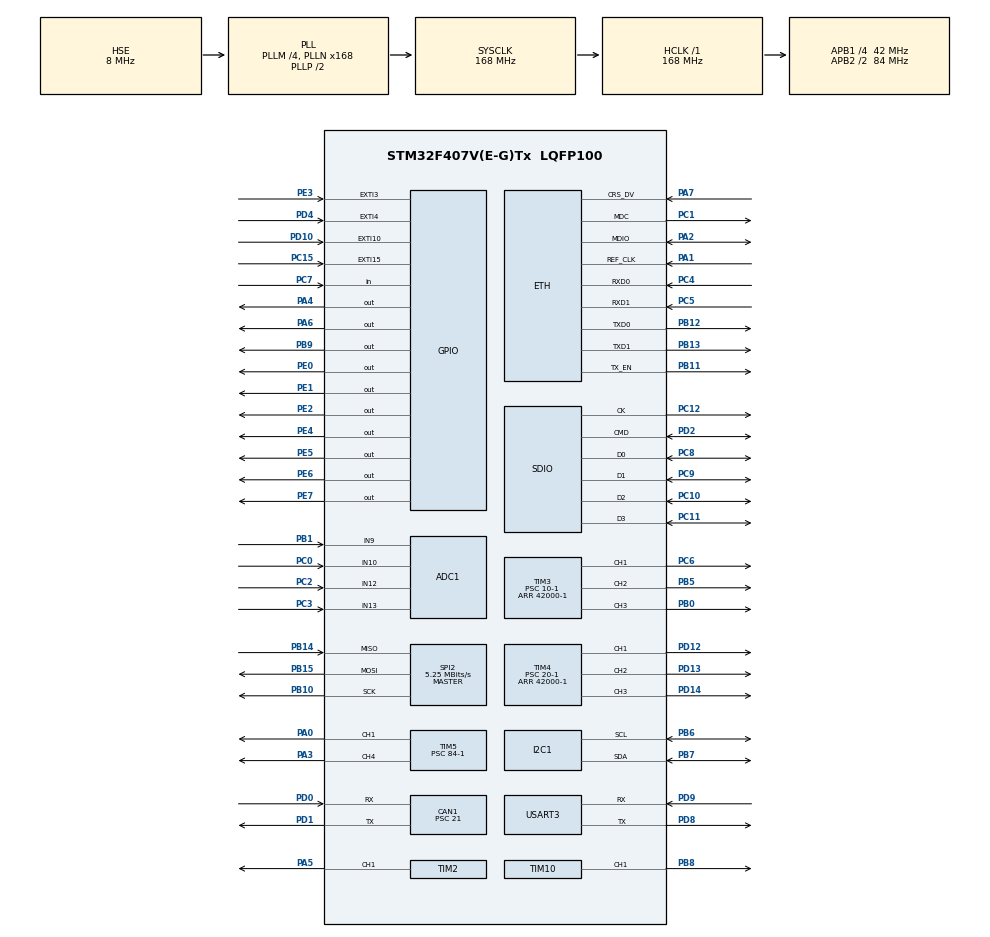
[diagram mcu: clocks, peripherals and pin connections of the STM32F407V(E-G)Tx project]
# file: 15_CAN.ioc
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ADC1.Channel-0\#ChannelRegularConversion=ADC_CHANNEL_10
ADC1.Channel-1\#ChannelRegularConversion=ADC_CHANNEL_12
ADC1.Channel-2\#ChannelRegularConversion=ADC_CHANNEL_13
ADC1.Channel-3\#ChannelRegularConversion=ADC_CHANNEL_9
ADC1.ContinuousConvMode=ENABLE
ADC1.DMAContinuousRequests=ENABLE
ADC1.NbrOfConversion=4
ADC1.NbrOfConversionFlag=1
ADC1.Rank-0\#ChannelRegularConversion=1
ADC1.Rank-1\#ChannelRegularConversion=2
ADC1.Rank-2\#ChannelRegularConversion=3
ADC1.Rank-3\#ChannelRegularConversion=4
ADC1.SamplingTime-0\#ChannelRegularConversion=ADC_SAMPLETIME_84CYCLES
ADC1.SamplingTime-1\#ChannelRegularConversion=ADC_SAMPLETIME_84CYCLES
ADC1.SamplingTime-2\#ChannelRegularConversion=ADC_SAMPLETIME_84CYCLES
ADC1.SamplingTime-3\#ChannelRegularConversion=ADC_SAMPLETIME_84CYCLES
ADC1.ScanConvMode=ENABLE
ADC1.master=1
CAN1.BS1=CAN_BS1_14TQ
CAN1.BS2=CAN_BS2_5TQ
CAN1.CalculateBaudRate=100000
CAN1.CalculateTimeBit=10000
CAN1.CalculateTimeQuantum=500.0
CAN1.Prescaler=21
Dma.ADC1.0.Direction=DMA_PERIPH_TO_MEMORY
Dma.ADC1.0.FIFOMode=DMA_FIFOMODE_DISABLE
Dma.ADC1.0.Instance=DMA2_Stream0
Dma.ADC1.0.MemDataAlignment=DMA_MDATAALIGN_HALFWORD
Dma.ADC1.0.MemInc=DMA_MINC_ENABLE
Dma.ADC1.0.Mode=DMA_CIRCULAR
Dma.ADC1.0.PeriphDataAlignment=DMA_PDATAALIGN_HALFWORD
Dma.ADC1.0.PeriphInc=DMA_PINC_DISABLE
Dma.ADC1.0.Priority=DMA_PRIORITY_LOW
Dma.Request0=ADC1
Dma.Request1=SDIO_TX
Dma.Request2=SDIO_RX
Dma.SDIO_RX.2.Direction=DMA_PERIPH_TO_MEMORY
Dma.SDIO_RX.2.FIFOMode=DMA_FIFOMODE_ENABLE
Dma.SDIO_RX.2.FIFOThreshold=DMA_FIFO_THRESHOLD_FULL
Dma.SDIO_RX.2.Instance=DMA2_Stream6
Dma.SDIO_RX.2.MemBurst=DMA_MBURST_INC4
Dma.SDIO_RX.2.MemDataAlignment=DMA_MDATAALIGN_WORD
Dma.SDIO_RX.2.MemInc=DMA_MINC_ENABLE
Dma.SDIO_RX.2.Mode=DMA_PFCTRL
Dma.SDIO_RX.2.PeriphBurst=DMA_PBURST_INC4
Dma.SDIO_RX.2.PeriphDataAlignment=DMA_PDATAALIGN_WORD
Dma.SDIO_RX.2.PeriphInc=DMA_PINC_DISABLE
Dma.SDIO_RX.2.Priority=DMA_PRIORITY_LOW
Dma.SDIO_TX.1.Direction=DMA_MEMORY_TO_PERIPH
Dma.SDIO_TX.1.FIFOMode=DMA_FIFOMODE_ENABLE
Dma.SDIO_TX.1.FIFOThreshold=DMA_FIFO_THRESHOLD_FULL
Dma.SDIO_TX.1.Instance=DMA2_Stream3
Dma.SDIO_TX.1.MemBurst=DMA_MBURST_INC4
Dma.SDIO_TX.1.MemDataAlignment=DMA_MDATAALIGN_WORD
Dma.SDIO_TX.1.MemInc=DMA_MINC_ENABLE
Dma.SDIO_TX.1.Mode=DMA_PFCTRL
Dma.SDIO_TX.1.PeriphBurst=DMA_PBURST_INC4
Dma.SDIO_TX.1.PeriphDataAlignment=DMA_PDATAALIGN_WORD
Dma.SDIO_TX.1.PeriphInc=DMA_PINC_DISABLE
Dma.SDIO_TX.1.Priority=DMA_PRIORITY_LOW
ETH.MediaInterface=HAL_ETH_RMII_MODE
FATFS.USE_DMA_CODE_SD=1
FATFS._MAX_SS=512
FATFS._USE_LFN=1
I2C1.I2C_Mode=I2C_Fast
LWIP.BSP.number=1
LWIP.CHECKSUM_BY_HARDWARE=1
LWIP.GATEWAY_ADDRESS=192.168.035.001
LWIP.IP_ADDRESS=192.168.035.209
LWIP.LWIP_DHCP=0
LWIP.NETMASK_ADDRESS=255.255.255.000
LWIP.Version=v2.1.2_Cube
LWIP0.BSP.STBoard=false
LWIP0.BSP.api=BSP_COMPONENT_DRIVER
LWIP0.BSP.component=DP83848
LWIP0.BSP.instance=DP83848
LWIP0.BSP.name=Driver_PHY
LWIP0.BSP.semaphore=S_DP83848
LWIP0.BSP.solution=DP83848
Mcu.Family=STM32F4
Mcu.Name=STM32F407V(E-G)Tx
Mcu.Package=LQFP100
NVIC.CAN1_RX0_IRQn=true\:0\:0\:false\:false\:true\:true\:true\:true
NVIC.DMA2_Stream0_IRQn=true\:0\:0\:false\:false\:true\:false\:true\:true
NVIC.DMA2_Stream3_IRQn=true\:0\:0\:false\:false\:true\:false\:true\:true
NVIC.DMA2_Stream6_IRQn=true\:0\:0\:false\:false\:true\:false\:true\:true
NVIC.EXTI15_10_IRQn=true\:0\:0\:false\:true\:true\:5\:true\:true\:true
NVIC.EXTI3_IRQn=true\:0\:0\:false\:true\:true\:3\:true\:true\:true
NVIC.EXTI4_IRQn=true\:0\:0\:false\:true\:true\:4\:true\:true\:true
NVIC.PriorityGroup=NVIC_PRIORITYGROUP_4
NVIC.SDIO_IRQn=true\:0\:0\:false\:false\:true\:true\:true\:true
NVIC.TIM7_IRQn=true\:0\:0\:false\:true\:true\:2\:true\:true\:true
NVIC.USART3_IRQn=true\:0\:0\:false\:true\:true\:1\:true\:true\:true
PA0-WKUP.Signal=S_TIM5_CH1
PA1.Mode=RMII
PA1.Signal=ETH_REF_CLK
PA2.Mode=RMII
PA2.Signal=ETH_MDIO
PA3.Signal=S_TIM5_CH4
PA4.Signal=GPIO_Output
PA5.Signal=S_TIM2_CH1_ETR
PA6.Signal=GPIO_Output
PA7.Mode=RMII
PA7.Signal=ETH_CRS_DV
PB0.Signal=S_TIM3_CH3
PB1.Signal=ADCx_IN9
PB10.Mode=Full_Duplex_Master
PB10.Signal=SPI2_SCK
PB11.Mode=RMII
PB11.Signal=ETH_TX_EN
PB12.Mode=RMII
PB12.Signal=ETH_TXD0
PB13.Mode=RMII
PB13.Signal=ETH_TXD1
PB14.Mode=Full_Duplex_Master
PB14.Signal=SPI2_MISO
PB15.Mode=Full_Duplex_Master
PB15.Signal=SPI2_MOSI
PB5.Signal=S_TIM3_CH2
PB6.Mode=I2C
PB6.Signal=I2C1_SCL
PB7.Mode=I2C
PB7.Signal=I2C1_SDA
PB8.Signal=S_TIM10_CH1
PB9.Signal=GPIO_Output
PC0.Signal=ADCx_IN10
PC1.Mode=RMII
PC1.Signal=ETH_MDC
PC10.Mode=SD_4_bits_Wide_bus
PC10.Signal=SDIO_D2
PC11.Mode=SD_4_bits_Wide_bus
PC11.Signal=SDIO_D3
PC12.Mode=SD_4_bits_Wide_bus
PC12.Signal=SDIO_CK
PC15-OSC32_OUT.Signal=GPXTI15
PC2.Signal=ADCx_IN12
PC3.Signal=ADCx_IN13
PC4.Mode=RMII
PC4.Signal=ETH_RXD0
PC5.Mode=RMII
PC5.Signal=ETH_RXD1
PC6.Signal=S_TIM3_CH1
PC7.Signal=GPIO_Input
PC8.Mode=SD_4_bits_Wide_bus
PC8.Signal=SDIO_D0
PC9.Mode=SD_4_bits_Wide_bus
PC9.Signal=SDIO_D1
PD0.Mode=CAN_Activate
PD0.Signal=CAN1_RX
PD1.Mode=CAN_Activate
PD1.Signal=CAN1_TX
PD10.Signal=GPXTI10
PD12.Signal=S_TIM4_CH1
PD13.Signal=S_TIM4_CH2
PD14.Signal=S_TIM4_CH3
PD2.Mode=SD_4_bits_Wide_bus
PD2.Signal=SDIO_CMD
PD4.Signal=GPXTI4
PD8.Mode=Asynchronous
PD8.Signal=USART3_TX
PD9.Mode=Asynchronous
PD9.Signal=USART3_RX
PE0.Signal=GPIO_Output
PE1.Signal=GPIO_Output
PE2.Signal=GPIO_Output
PE3.Signal=GPXTI3
PE4.Signal=GPIO_Output
PE5.Signal=GPIO_Output
PE6.Signal=GPIO_Output
PE7.Signal=GPIO_Output
PH0-OSC_IN.Mode=HSE-External-Oscillator
PH0-OSC_IN.Signal=RCC_OSC_IN
PH1-OSC_OUT.Mode=HSE-External-Oscillator
PH1-OSC_OUT.Signal=RCC_OSC_OUT
ProjectManager.HeapSize=0x200
ProjectManager.StackSize=0x400
ProjectManager.TargetToolchain=STM32CubeIDE
RCC.48MHZClocksFreq_Value=48000000
RCC.AHBFreq_Value=168000000
RCC.APB1CLKDivider=RCC_HCLK_DIV4
RCC.APB1Freq_Value=42000000
RCC.APB1TimFreq_Value=84000000
RCC.APB2CLKDivider=RCC_HCLK_DIV2
RCC.APB2Freq_Value=84000000
RCC.APB2TimFreq_Value=168000000
RCC.CortexFreq_Value=168000000
RCC.HCLKFreq_Value=168000000
RCC.HSE_VALUE=8000000
RCC.HSI_VALUE=16000000
RCC.LSE_VALUE=32768
RCC.PLLM=4
RCC.PLLN=168
RCC.PLLQ=7
RCC.PLLSourceVirtual=RCC_PLLSOURCE_HSE
RCC.SYSCLKFreq_VALUE=168000000
RCC.SYSCLKSource=RCC_SYSCLKSOURCE_PLLCLK
RCC.VCOOutputFreq_Value=336000000
SH.ADCx_IN10.0=ADC1_IN10,IN10
SH.ADCx_IN12.0=ADC1_IN12,IN12
SH.ADCx_IN13.0=ADC1_IN13,IN13
SH.ADCx_IN9.0=ADC1_IN9,IN9
SH.S_TIM10_CH1.0=TIM10_CH1,PWM Generation1 CH1
SH.S_TIM2_CH1_ETR.0=TIM2_CH1,PWM Generation1 CH1
SH.S_TIM3_CH1.0=TIM3_CH1,PWM Generation1 CH1
SH.S_TIM3_CH2.0=TIM3_CH2,PWM Generation2 CH2
SH.S_TIM3_CH3.0=TIM3_CH3,PWM Generation3 CH3
SH.S_TIM4_CH1.0=TIM4_CH1,PWM Generation1 CH1
SH.S_TIM4_CH2.0=TIM4_CH2,PWM Generation2 CH2
SH.S_TIM4_CH3.0=TIM4_CH3,PWM Generation3 CH3
SH.S_TIM5_CH1.0=TIM5_CH1,PWM Generation1 CH1
SH.S_TIM5_CH4.0=TIM5_CH4,PWM Generation4 CH4
SPI2.BaudRatePrescaler=SPI_BAUDRATEPRESCALER_8
SPI2.CLKPhase=SPI_PHASE_2EDGE
SPI2.CLKPolarity=SPI_POLARITY_HIGH
SPI2.CalculateBaudRate=5.25 MBits/s
SPI2.Direction=SPI_DIRECTION_2LINES
SPI2.Mode=SPI_MODE_MASTER
SPI2.VirtualType=VM_MASTER
TIM10.Channel=TIM_CHANNEL_1
TIM10.Period=10000-1
TIM10.Prescaler=336-1
TIM10.Pulse=100
TIM2.Channel-PWM\ Generation1\ CH1=TIM_CHANNEL_1
TIM2.Period=168-1
TIM2.Prescaler=1000-1
TIM2.Pulse-PWM\ Generation1\ CH1=84
TIM3.Channel-PWM\ Generation1\ CH1=TIM_CHANNEL_1
TIM3.Channel-PWM\ Generation2\ CH2=TIM_CHANNEL_2
TIM3.Channel-PWM\ Generation3\ CH3=TIM_CHANNEL_3
TIM3.Period=42000-1
TIM3.Prescaler=10-1
TIM3.Pulse-PWM\ Generation1\ CH1=21000-1
TIM3.Pulse-PWM\ Generation2\ CH2=10500-1
TIM3.Pulse-PWM\ Generation3\ CH3=5250-1
TIM4.Channel-PWM\ Generation1\ CH1=TIM_CHANNEL_1
TIM4.Channel-PWM\ Generation2\ CH2=TIM_CHANNEL_2
TIM4.Channel-PWM\ Generation3\ CH3=TIM_CHANNEL_3
TIM4.Period=42000-1
TIM4.Prescaler=20-1
TIM4.Pulse-PWM\ Generation1\ CH1=21000-1
TIM4.Pulse-PWM\ Generation2\ CH2=10500-1
TIM4.Pulse-PWM\ Generation3\ CH3=5250-1
TIM5.Channel-PWM\ Generation1\ CH1=TIM_CHANNEL_1
TIM5.Channel-PWM\ Generation4\ CH4=TIM_CHANNEL_4
TIM5.Period=10000-1
TIM5.Prescaler=84-1
TIM5.Pulse-PWM\ Generation4\ CH4=5000
TIM7.Period=8400-1
TIM7.Prescaler=10-1
USART3.VirtualMode=VM_ASYNC
VP_FATFS_VS_SDIO.Mode=SDIO
VP_LWIP_VS_Enabled.Mode=Enabled
VP_TIM10_VS_ClockSourceINT.Mode=Enable_Timer
VP_TIM2_VS_ClockSourceINT.Mode=Internal
VP_TIM3_VS_ClockSourceINT.Mode=Internal
VP_TIM4_VS_ClockSourceINT.Mode=Internal
VP_TIM5_VS_ClockSourceINT.Mode=Internal
VP_TIM7_VS_ClockSourceINT.Mode=Enable_Timer
board=custom

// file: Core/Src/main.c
/* USER CODE BEGIN Header */
/**
 ******************************************************************************
 * @file           : main.c
 * @brief          : Main program body
 ******************************************************************************
 * @attention
 *
 * Copyright (c) 2024 STMicroelectronics.
 * All rights reserved.
 *
 * This software is licensed under terms that can be found in the LICENSE file
 * in the root directory of this software component.
 * If no LICENSE file comes with this software, it is provided AS-IS.
 *
 ******************************************************************************
 */
/* USER CODE END Header */
#include "main.h"
#include "fatfs.h"
#include "lwip.h"

/* USER CODE BEGIN Includes */
#include <stdio.h>
#include <string.h>
#include "CLCD.h"
#include "7SEG.h"
#include <math.h>
#include "VS1003.h"
#include "MP3Sample.h"
#include "udp_echoserver.h"
/* USER CODE END Includes */

ADC_HandleTypeDef hadc1;
DMA_HandleTypeDef hdma_adc1;

CAN_HandleTypeDef hcan1;

I2C_HandleTypeDef hi2c1;

SD_HandleTypeDef hsd;
DMA_HandleTypeDef hdma_sdio_tx;
DMA_HandleTypeDef hdma_sdio_rx;

SPI_HandleTypeDef hspi2;

TIM_HandleTypeDef htim2;
TIM_HandleTypeDef htim3;
TIM_HandleTypeDef htim4;
TIM_HandleTypeDef htim5;
TIM_HandleTypeDef htim7;
TIM_HandleTypeDef htim10;

UART_HandleTypeDef huart3;

/* USER CODE BEGIN PV */
CAN_FilterTypeDef canFilter1;
CAN_RxHeaderTypeDef canRxHeader;
CAN_TxHeaderTypeDef canTxHeader;
uint8_t can1Rx0Data[8];
uint32_t TxMailBox;
uint8_t can1Tx0Data[8];
volatile uint8_t can1_rx0_falg = 0;

uint8_t rx3_data;
uint8_t buf = 0;
uint8_t rx3_buf[100];

uint8_t sw1_flag = 0;
uint8_t sw2_flag = 0;
uint8_t sw3_flag = 0;
uint8_t sw4_flag = 0;

extern uint8_t udp_data;
extern uint8_t udp_flag;
/* USER CODE END PV */

void SystemClock_Config(void);
static void MX_GPIO_Init(void);
static void MX_DMA_Init(void);
static void MX_USART3_UART_Init(void);
static void MX_TIM7_Init(void);
static void MX_TIM3_Init(void);
static void MX_TIM4_Init(void);
static void MX_TIM10_Init(void);
static void MX_TIM2_Init(void);
static void MX_TIM5_Init(void);
static void MX_ADC1_Init(void);
static void MX_I2C1_Init(void);
static void MX_SPI2_Init(void);
static void MX_SDIO_SD_Init(void);
static void MX_CAN1_Init(void);
static void MX_NVIC_Init(void);
/* USER CODE BEGIN PFP */
int _write(int file, char *p, int len)
{
	HAL_UART_Transmit(&huart3, p, len, 10);
	return len;
}

void HAL_UART_RxCpltCallback(UART_HandleTypeDef *huart)
{
	if (huart->Instance == USART3)
	{
		if (buf < 100 - 1)
		{
			buf++;
		}
		else
		{
			buf = 0;
		}

		if (rx3_buf[buf - 1] == '\n')
		{
			rx3_buf[buf - 1] = '\0';
			buf = 0;
		}

		HAL_UART_Receive_IT(&huart3, &rx3_buf[buf], 1);
	}
}

void HAL_TIM_PeriodElapsedCallback(TIM_HandleTypeDef *htim)
{
	static unsigned char cnt = 0;

//	if (htim->Instance == TIM7) {
//		/*Sin wave*/
//		HAL_DAC_SetValue(&hdac, DAC_CHANNEL_1, DAC_ALIGN_12B_R, (sinf(2 * 3.1415926535f * 100 * cnt / 1000.f) + 1) * 2047); // 100Hz code (this code MAX Frequency 499Hz)
//		cnt++;
//		if(cnt > 999) cnt = 0;
//	}
}

void HAL_GPIO_EXTI_Callback(uint16_t GPIO_Pin)
{
	if (GPIO_Pin == GPIO_PIN_3)
	{
		sw1_flag = 1;
	}
	if (GPIO_Pin == GPIO_PIN_15)
	{
		sw2_flag = 1;
	}
	if (GPIO_Pin == GPIO_PIN_4)
	{
		sw3_flag = 1;
	}
	if (GPIO_Pin == GPIO_PIN_10)
	{
		sw4_flag = 1;
	}
}

void HAL_CAN_RxFifo0MsgPendingCallback(CAN_HandleTypeDef *hcan)
{
	if (hcan->Instance == CAN1)
	{
		HAL_CAN_GetRxMessage(&hcan1, CAN_RX_FIFO0, &canRxHeader, can1Rx0Data);
		can1_rx0_falg = 1;
	}
}
/* USER CODE END PFP */

int main(void)
{
	/* USER CODE BEGIN 1 */
	volatile uint16_t adcval[4];
	/* USER CODE END 1 */

	/* MCU Configuration--------------------------------------------------------*/

	/* Reset of all peripherals, Initializes the Flash interface and the Systick. */
	HAL_Init();

	/* Configure the system clock */
	SystemClock_Config();

	/* Initialize all configured peripherals */
	MX_GPIO_Init();
	MX_DMA_Init();
	MX_USART3_UART_Init();
	MX_TIM7_Init();
	MX_TIM3_Init();
	MX_TIM4_Init();
	MX_TIM10_Init();
	MX_TIM2_Init();
	MX_TIM5_Init();
	MX_ADC1_Init();
	MX_I2C1_Init();
	MX_SPI2_Init();
	MX_SDIO_SD_Init();
	MX_FATFS_Init();
	MX_LWIP_Init();
	MX_CAN1_Init();

	/* Initialize interrupts */
	MX_NVIC_Init();
	/* USER CODE BEGIN 2 */
	HAL_GPIO_WritePin(GPIOD, GPIO_PIN_12, GPIO_PIN_SET);
	HAL_GPIO_WritePin(GPIOD, GPIO_PIN_13, GPIO_PIN_SET);
	HAL_GPIO_WritePin(GPIOD, GPIO_PIN_14, GPIO_PIN_SET);
	HAL_GPIO_WritePin(GPIOC, GPIO_PIN_6, GPIO_PIN_SET);
	HAL_GPIO_WritePin(GPIOB, GPIO_PIN_0, GPIO_PIN_SET);
	HAL_GPIO_WritePin(GPIOB, GPIO_PIN_5, GPIO_PIN_SET);

//	HAL_UART_Receive_IT(&huart3, &rx3_buf[buf], 1);
	HAL_TIM_Base_Start_IT(&htim7);

//	HAL_TIM_PWM_Start(&htim3, TIM_CHANNEL_1);
//	HAL_TIM_PWM_Start(&htim3, TIM_CHANNEL_2);
//	HAL_TIM_PWM_Start(&htim3, TIM_CHANNEL_3);
//	HAL_TIM_PWM_Start(&htim4, TIM_CHANNEL_1);
//	HAL_TIM_PWM_Start(&htim4, TIM_CHANNEL_2);
//	HAL_TIM_PWM_Start(&htim4, TIM_CHANNEL_3);

	/*Servo motor*/
//	HAL_TIM_PWM_Start(&htim10, TIM_CHANNEL_1);
//	TIM10->CCR1 = 1500;
	/*Buzzer*/
//	HAL_TIM_PWM_Start(&htim2, TIM_CHANNEL_1);
//	TIM2->ARR = 500 - 1;
//	TIM2->CCR1 = 250;
	/*DC motor 100Hz Positive*/
//	HAL_TIM_PWM_Start(&htim5, TIM_CHANNEL_4); // motor driver input A, 50% pwm
//	HAL_TIM_PWM_Start(&htim5, TIM_CHANNEL_1); // motor driver input B, 0% pwm
	/*DC motor 100Hz Negative*/
//	TIM5->CCR4 = 0;
//	TIM5->CCR1 = 5000;
//
//	HAL_ADC_Start_DMA(&hadc1, &adcval[0], 4);
//	HAL_DAC_Start(&hdac, DAC_CHANNEL_1);
	VS1003_Init();
	VS1003_SoftReset();

	/* tcp echo server Init */
	udp_echoserver_init();

	CLCD_GPIO_Init();
	CLCD_Init();

	CLCD_Puts(0, 0, "Welcome to");
	CLCD_Puts(0, 1, "Kkang Home");

	CLCD_Clear();

//	_7SEG_GPIO_Init();
	/* USER CODE END 2 */

	/* Infinite loop */
	/* USER CODE BEGIN WHILE */
//	uint8_t a = 0;
	uint8_t str[20];
//	uint16_t ccr = 0;
//	uint16_t arr = 1000;
//	uint16_t psc = 1000;
//	uint8_t ud_flag = 0;
//	uint16_t dacval = 0;
//	uint8_t eeprom[10] = { 0x00, 0x11, 0x22, 0x33, 0x44, 0x55, 0x66, 0x77, 0x88, 0x99 };
//	int i = 0;
//
//	BYTE buf[32] = "Hello world";
//	uint32_t bw, br;
//	uint8_t pp_flag = 0;

//	/*FS Initialized ===> allocate '0:/'Drive*/
//	if ((retSD = f_mount(&SDFatFS, &SDPath[0], 1)) == FR_OK)
//	{
//		sprintf(str, "f_mount OK %d", retSD);
//		CLCD_Puts(0, 0, str);
//	}
//	else
//	{
//		sprintf(str, "f_mount failed %d", retSD);
//		CLCD_Puts(0, 0, str);
//	}
//
//	/*File List in SD Card*/
//	DIR dir;
//	FILINFO filinfo;
//	uint16_t filecnt = 0;
//
//	if ((retSD = f_opendir(&dir, "0:/")) == FR_OK)
//	{
//		while (1)
//		{
//			retSD = f_readdir(&dir, &filinfo);
//			if (dir.sect == 0)
//				break;
//
//			printf("%s\t0x%x\n", filinfo.fname, filinfo.fattrib);
//			filecnt++;
//		}
//		printf("\nTotal %d file(s)..\n\n", filecnt);
//	}
//	else
//	{
//		printf("The file/directory object is invalid! %d\n", retSD);
//	}
//
//	/*Open File*/
//	unsigned char filename[20] = "0:/1.mp3";
//	uint16_t index = 0;
//
//	if ((retSD = f_open(&SDFile, filename, FA_OPEN_EXISTING | FA_READ)) == FR_OK)
//	{
//		CLCD_Clear();
//		sprintf(str, "%s opened", filename);
//		CLCD_Puts(0, 0, str);
//	}
//	else
//	{
//		sprintf(str, "open error %d\n", retSD);
//		CLCD_Puts(0, 0, str);
//	}

	/******************************************CAN*********************************************/
	canFilter1.FilterMaskIdHigh = canFilter1.FilterMaskIdLow = 0x7F3 << 5; // why shift 5? => 16bit MSB
	canFilter1.FilterIdHigh = canFilter1.FilterIdLow = 0x106 << 5; // why shift 5? => 16bit MSB
	canFilter1.FilterMode = CAN_FILTERMODE_IDMASK;
	canFilter1.FilterScale = CAN_FILTERSCALE_16BIT;
	canFilter1.FilterFIFOAssignment = CAN_FILTER_FIFO0;
	canFilter1.FilterBank = 0;
	canFilter1.FilterActivation = ENABLE;

	HAL_CAN_ConfigFilter(&hcan1, &canFilter1);
	HAL_CAN_ActivateNotification(&hcan1, CAN_IT_RX_FIFO0_MSG_PENDING);

	HAL_CAN_Start(&hcan1);

	while (1)
	{
		if (can1_rx0_falg)
		{
			can1_rx0_falg = 0;

			CLCD_Clear();
			sprintf(str, "Rx ID :   0x%3X", canRxHeader.StdId);
			CLCD_Puts(0, 0, str);
			sprintf(str, "Rx Data : 0x%2X", can1Rx0Data[0]);
			CLCD_Puts(0, 1, str);
		}

		if (sw1_flag)
		{
			sw1_flag = 0;

			canTxHeader.StdId = 0x102;
			canTxHeader.RTR = CAN_RTR_DATA;
			canTxHeader.IDE = CAN_ID_STD;
			canTxHeader.DLC = 8;

			for (int i = 0; i < 8; i++)
			{
				can1Tx0Data[i]++;
			}

			TxMailBox = HAL_CAN_GetTxMailboxesFreeLevel(&hcan1);
			HAL_CAN_AddTxMessage(&hcan1, &canTxHeader, can1Tx0Data, &TxMailBox);
		}

		if (sw2_flag)
		{
			sw2_flag = 0;

			canTxHeader.StdId = 0x106;
			canTxHeader.RTR = CAN_RTR_DATA;
			canTxHeader.IDE = CAN_ID_STD;
			canTxHeader.DLC = 8;

			for (int i = 0; i < 8; i++)
			{
				can1Tx0Data[i]++;
			}

			TxMailBox = HAL_CAN_GetTxMailboxesFreeLevel(&hcan1);
			HAL_CAN_AddTxMessage(&hcan1, &canTxHeader, can1Tx0Data, &TxMailBox);
		}

		if (sw3_flag)
		{
			sw3_flag = 0;

			canTxHeader.StdId = 0x10A;
			canTxHeader.RTR = CAN_RTR_DATA;
			canTxHeader.IDE = CAN_ID_STD;
			canTxHeader.DLC = 8;

			for (int i = 0; i < 8; i++)
			{
				can1Tx0Data[i]++;
			}

			TxMailBox = HAL_CAN_GetTxMailboxesFreeLevel(&hcan1);
			HAL_CAN_AddTxMessage(&hcan1, &canTxHeader, can1Tx0Data, &TxMailBox);
		}

		if (sw4_flag)
		{
			sw4_flag = 0;

			canTxHeader.StdId = 0x10E;
			canTxHeader.RTR = CAN_RTR_DATA;
			canTxHeader.IDE = CAN_ID_STD;
			canTxHeader.DLC = 8;

			for (int i = 0; i < 8; i++)
			{
				can1Tx0Data[i]++;
			}

			TxMailBox = HAL_CAN_GetTxMailboxesFreeLevel(&hcan1);
			HAL_CAN_AddTxMessage(&hcan1, &canTxHeader, can1Tx0Data, &TxMailBox);
		}

		/* USER CODE END WHILE */

	}
}

void SystemClock_Config(void)
{
	RCC_OscInitTypeDef RCC_OscInitStruct = { 0 };
	RCC_ClkInitTypeDef RCC_ClkInitStruct = { 0 };

	/** Configure the main internal regulator output voltage
	 */
	__HAL_RCC_PWR_CLK_ENABLE();
	__HAL_PWR_VOLTAGESCALING_CONFIG(PWR_REGULATOR_VOLTAGE_SCALE1);

	/** Initializes the RCC Oscillators according to the specified parameters
	 * in the RCC_OscInitTypeDef structure.
	 */
	RCC_OscInitStruct.OscillatorType = RCC_OSCILLATORTYPE_HSE;
	RCC_OscInitStruct.HSEState = RCC_HSE_ON;
	RCC_OscInitStruct.PLL.PLLState = RCC_PLL_ON;
	RCC_OscInitStruct.PLL.PLLSource = RCC_PLLSOURCE_HSE;
	RCC_OscInitStruct.PLL.PLLM = 4;
	RCC_OscInitStruct.PLL.PLLN = 168;
	RCC_OscInitStruct.PLL.PLLP = RCC_PLLP_DIV2;
	RCC_OscInitStruct.PLL.PLLQ = 7;
	if (HAL_RCC_OscConfig(&RCC_OscInitStruct) != HAL_OK)
	{
		Error_Handler();
	}

	/** Initializes the CPU, AHB and APB buses clocks
	 */
	RCC_ClkInitStruct.ClockType = RCC_CLOCKTYPE_HCLK | RCC_CLOCKTYPE_SYSCLK | RCC_CLOCKTYPE_PCLK1 | RCC_CLOCKTYPE_PCLK2;
	RCC_ClkInitStruct.SYSCLKSource = RCC_SYSCLKSOURCE_PLLCLK;
	RCC_ClkInitStruct.AHBCLKDivider = RCC_SYSCLK_DIV1;
	RCC_ClkInitStruct.APB1CLKDivider = RCC_HCLK_DIV4;
	RCC_ClkInitStruct.APB2CLKDivider = RCC_HCLK_DIV2;

	if (HAL_RCC_ClockConfig(&RCC_ClkInitStruct, FLASH_LATENCY_5) != HAL_OK)
	{
		Error_Handler();
	}
}

/**
 * @brief NVIC Configuration.
 * @retval None
 */
static void MX_NVIC_Init(void)
{
	/* USART3_IRQn interrupt configuration */
	HAL_NVIC_SetPriority(USART3_IRQn, 0, 0);
	HAL_NVIC_EnableIRQ(USART3_IRQn);
	/* TIM7_IRQn interrupt configuration */
	HAL_NVIC_SetPriority(TIM7_IRQn, 0, 0);
	HAL_NVIC_EnableIRQ(TIM7_IRQn);
	/* EXTI3_IRQn interrupt configuration */
	HAL_NVIC_SetPriority(EXTI3_IRQn, 0, 0);
	HAL_NVIC_EnableIRQ(EXTI3_IRQn);
	/* EXTI4_IRQn interrupt configuration */
	HAL_NVIC_SetPriority(EXTI4_IRQn, 0, 0);
	HAL_NVIC_EnableIRQ(EXTI4_IRQn);
	/* EXTI15_10_IRQn interrupt configuration */
	HAL_NVIC_SetPriority(EXTI15_10_IRQn, 0, 0);
	HAL_NVIC_EnableIRQ(EXTI15_10_IRQn);
}

static void MX_ADC1_Init(void)
{

	ADC_ChannelConfTypeDef sConfig = { 0 };

	/** Configure the global features of the ADC (Clock, Resolution, Data Alignment and number of conversion)
	 */
	hadc1.Instance = ADC1;
	hadc1.Init.ClockPrescaler = ADC_CLOCK_SYNC_PCLK_DIV4;
	hadc1.Init.Resolution = ADC_RESOLUTION_12B;
	hadc1.Init.ScanConvMode = ENABLE;
	hadc1.Init.ContinuousConvMode = ENABLE;
	hadc1.Init.DiscontinuousConvMode = DISABLE;
	hadc1.Init.ExternalTrigConvEdge = ADC_EXTERNALTRIGCONVEDGE_NONE;
	hadc1.Init.ExternalTrigConv = ADC_SOFTWARE_START;
	hadc1.Init.DataAlign = ADC_DATAALIGN_RIGHT;
	hadc1.Init.NbrOfConversion = 4;
	hadc1.Init.DMAContinuousRequests = ENABLE;
	hadc1.Init.EOCSelection = ADC_EOC_SINGLE_CONV;
	if (HAL_ADC_Init(&hadc1) != HAL_OK)
	{
		Error_Handler();
	}

	/** Configure for the selected ADC regular channel its corresponding rank in the sequencer and its sample time.
	 */
	sConfig.Channel = ADC_CHANNEL_10;
	sConfig.Rank = 1;
	sConfig.SamplingTime = ADC_SAMPLETIME_84CYCLES;
	if (HAL_ADC_ConfigChannel(&hadc1, &sConfig) != HAL_OK)
	{
		Error_Handler();
	}

	/** Configure for the selected ADC regular channel its corresponding rank in the sequencer and its sample time.
	 */
	sConfig.Channel = ADC_CHANNEL_12;
	sConfig.Rank = 2;
	if (HAL_ADC_ConfigChannel(&hadc1, &sConfig) != HAL_OK)
	{
		Error_Handler();
	}

	/** Configure for the selected ADC regular channel its corresponding rank in the sequencer and its sample time.
	 */
	sConfig.Channel = ADC_CHANNEL_13;
	sConfig.Rank = 3;
	if (HAL_ADC_ConfigChannel(&hadc1, &sConfig) != HAL_OK)
	{
		Error_Handler();
	}

	/** Configure for the selected ADC regular channel its corresponding rank in the sequencer and its sample time.
	 */
	sConfig.Channel = ADC_CHANNEL_9;
	sConfig.Rank = 4;
	if (HAL_ADC_ConfigChannel(&hadc1, &sConfig) != HAL_OK)
	{
		Error_Handler();
	}

}

static void MX_CAN1_Init(void)
{

	hcan1.Instance = CAN1;
	hcan1.Init.Prescaler = 21;
	hcan1.Init.Mode = CAN_MODE_NORMAL;
	hcan1.Init.SyncJumpWidth = CAN_SJW_1TQ;
	hcan1.Init.TimeSeg1 = CAN_BS1_14TQ;
	hcan1.Init.TimeSeg2 = CAN_BS2_5TQ;
	hcan1.Init.TimeTriggeredMode = DISABLE;
	hcan1.Init.AutoBusOff = DISABLE;
	hcan1.Init.AutoWakeUp = DISABLE;
	hcan1.Init.AutoRetransmission = DISABLE;
	hcan1.Init.ReceiveFifoLocked = DISABLE;
	hcan1.Init.TransmitFifoPriority = DISABLE;
	if (HAL_CAN_Init(&hcan1) != HAL_OK)
	{
		Error_Handler();
	}

}

static void MX_I2C1_Init(void)
{

	hi2c1.Instance = I2C1;
	hi2c1.Init.ClockSpeed = 400000;
	hi2c1.Init.DutyCycle = I2C_DUTYCYCLE_2;
	hi2c1.Init.OwnAddress1 = 0;
	hi2c1.Init.AddressingMode = I2C_ADDRESSINGMODE_7BIT;
	hi2c1.Init.DualAddressMode = I2C_DUALADDRESS_DISABLE;
	hi2c1.Init.OwnAddress2 = 0;
	hi2c1.Init.GeneralCallMode = I2C_GENERALCALL_DISABLE;
	hi2c1.Init.NoStretchMode = I2C_NOSTRETCH_DISABLE;
	if (HAL_I2C_Init(&hi2c1) != HAL_OK)
	{
		Error_Handler();
	}

}

static void MX_SDIO_SD_Init(void)
{

	hsd.Instance = SDIO;
	hsd.Init.ClockEdge = SDIO_CLOCK_EDGE_RISING;
	hsd.Init.ClockBypass = SDIO_CLOCK_BYPASS_DISABLE;
	hsd.Init.ClockPowerSave = SDIO_CLOCK_POWER_SAVE_DISABLE;
	hsd.Init.BusWide = SDIO_BUS_WIDE_4B;
	hsd.Init.HardwareFlowControl = SDIO_HARDWARE_FLOW_CONTROL_DISABLE;
	hsd.Init.ClockDiv = 0;

}

static void MX_SPI2_Init(void)
{

	/* SPI2 parameter configuration*/
	hspi2.Instance = SPI2;
	hspi2.Init.Mode = SPI_MODE_MASTER;
	hspi2.Init.Direction = SPI_DIRECTION_2LINES;
	hspi2.Init.DataSize = SPI_DATASIZE_8BIT;
	hspi2.Init.CLKPolarity = SPI_POLARITY_HIGH;
	hspi2.Init.CLKPhase = SPI_PHASE_2EDGE;
	hspi2.Init.NSS = SPI_NSS_SOFT;
	hspi2.Init.BaudRatePrescaler = SPI_BAUDRATEPRESCALER_8;
	hspi2.Init.FirstBit = SPI_FIRSTBIT_MSB;
	hspi2.Init.TIMode = SPI_TIMODE_DISABLE;
	hspi2.Init.CRCCalculation = SPI_CRCCALCULATION_DISABLE;
	hspi2.Init.CRCPolynomial = 10;
	if (HAL_SPI_Init(&hspi2) != HAL_OK)
	{
		Error_Handler();
	}

}

static void MX_TIM2_Init(void)
{

	TIM_ClockConfigTypeDef sClockSourceConfig = { 0 };
	TIM_MasterConfigTypeDef sMasterConfig = { 0 };
	TIM_OC_InitTypeDef sConfigOC = { 0 };

	htim2.Instance = TIM2;
	htim2.Init.Prescaler = 1000 - 1;
	htim2.Init.CounterMode = TIM_COUNTERMODE_UP;
	htim2.Init.Period = 168 - 1;
	htim2.Init.ClockDivision = TIM_CLOCKDIVISION_DIV1;
	htim2.Init.AutoReloadPreload = TIM_AUTORELOAD_PRELOAD_DISABLE;
	if (HAL_TIM_Base_Init(&htim2) != HAL_OK)
	{
		Error_Handler();
	}
	sClockSourceConfig.ClockSource = TIM_CLOCKSOURCE_INTERNAL;
	if (HAL_TIM_ConfigClockSource(&htim2, &sClockSourceConfig) != HAL_OK)
	{
		Error_Handler();
	}
	if (HAL_TIM_PWM_Init(&htim2) != HAL_OK)
	{
		Error_Handler();
	}
	sMasterConfig.MasterOutputTrigger = TIM_TRGO_RESET;
	sMasterConfig.MasterSlaveMode = TIM_MASTERSLAVEMODE_DISABLE;
	if (HAL_TIMEx_MasterConfigSynchronization(&htim2, &sMasterConfig) != HAL_OK)
	{
		Error_Handler();
	}
	sConfigOC.OCMode = TIM_OCMODE_PWM1;
	sConfigOC.Pulse = 84;
	sConfigOC.OCPolarity = TIM_OCPOLARITY_HIGH;
	sConfigOC.OCFastMode = TIM_OCFAST_DISABLE;
	if (HAL_TIM_PWM_ConfigChannel(&htim2, &sConfigOC, TIM_CHANNEL_1) != HAL_OK)
	{
		Error_Handler();
	}
	HAL_TIM_MspPostInit(&htim2);

}

static void MX_TIM3_Init(void)
{

	TIM_ClockConfigTypeDef sClockSourceConfig = { 0 };
	TIM_MasterConfigTypeDef sMasterConfig = { 0 };
	TIM_OC_InitTypeDef sConfigOC = { 0 };

	htim3.Instance = TIM3;
	htim3.Init.Prescaler = 10 - 1;
	htim3.Init.CounterMode = TIM_COUNTERMODE_UP;
	htim3.Init.Period = 42000 - 1;
	htim3.Init.ClockDivision = TIM_CLOCKDIVISION_DIV1;
	htim3.Init.AutoReloadPreload = TIM_AUTORELOAD_PRELOAD_DISABLE;
	if (HAL_TIM_Base_Init(&htim3) != HAL_OK)
	{
		Error_Handler();
	}
	sClockSourceConfig.ClockSource = TIM_CLOCKSOURCE_INTERNAL;
	if (HAL_TIM_ConfigClockSource(&htim3, &sClockSourceConfig) != HAL_OK)
	{
		Error_Handler();
	}
	if (HAL_TIM_PWM_Init(&htim3) != HAL_OK)
	{
		Error_Handler();
	}
	sMasterConfig.MasterOutputTrigger = TIM_TRGO_RESET;
	sMasterConfig.MasterSlaveMode = TIM_MASTERSLAVEMODE_DISABLE;
	if (HAL_TIMEx_MasterConfigSynchronization(&htim3, &sMasterConfig) != HAL_OK)
	{
		Error_Handler();
	}
	sConfigOC.OCMode = TIM_OCMODE_PWM1;
	sConfigOC.Pulse = 21000 - 1;
	sConfigOC.OCPolarity = TIM_OCPOLARITY_HIGH;
	sConfigOC.OCFastMode = TIM_OCFAST_DISABLE;
	if (HAL_TIM_PWM_ConfigChannel(&htim3, &sConfigOC, TIM_CHANNEL_1) != HAL_OK)
	{
		Error_Handler();
	}
	sConfigOC.Pulse = 10500 - 1;
	if (HAL_TIM_PWM_ConfigChannel(&htim3, &sConfigOC, TIM_CHANNEL_2) != HAL_OK)
	{
		Error_Handler();
	}
	sConfigOC.Pulse = 5250 - 1;
	if (HAL_TIM_PWM_ConfigChannel(&htim3, &sConfigOC, TIM_CHANNEL_3) != HAL_OK)
	{
		Error_Handler();
	}
	HAL_TIM_MspPostInit(&htim3);

}

static void MX_TIM4_Init(void)
{

	TIM_ClockConfigTypeDef sClockSourceConfig = { 0 };
	TIM_MasterConfigTypeDef sMasterConfig = { 0 };
	TIM_OC_InitTypeDef sConfigOC = { 0 };

	htim4.Instance = TIM4;
	htim4.Init.Prescaler = 20 - 1;
	htim4.Init.CounterMode = TIM_COUNTERMODE_UP;
	htim4.Init.Period = 42000 - 1;
	htim4.Init.ClockDivision = TIM_CLOCKDIVISION_DIV1;
	htim4.Init.AutoReloadPreload = TIM_AUTORELOAD_PRELOAD_DISABLE;
	if (HAL_TIM_Base_Init(&htim4) != HAL_OK)
	{
		Error_Handler();
	}
	sClockSourceConfig.ClockSource = TIM_CLOCKSOURCE_INTERNAL;
	if (HAL_TIM_ConfigClockSource(&htim4, &sClockSourceConfig) != HAL_OK)
	{
		Error_Handler();
	}
	if (HAL_TIM_PWM_Init(&htim4) != HAL_OK)
	{
		Error_Handler();
	}
	sMasterConfig.MasterOutputTrigger = TIM_TRGO_RESET;
	sMasterConfig.MasterSlaveMode = TIM_MASTERSLAVEMODE_DISABLE;
	if (HAL_TIMEx_MasterConfigSynchronization(&htim4, &sMasterConfig) != HAL_OK)
	{
		Error_Handler();
	}
	sConfigOC.OCMode = TIM_OCMODE_PWM1;
	sConfigOC.Pulse = 21000 - 1;
	sConfigOC.OCPolarity = TIM_OCPOLARITY_HIGH;
	sConfigOC.OCFastMode = TIM_OCFAST_DISABLE;
	if (HAL_TIM_PWM_ConfigChannel(&htim4, &sConfigOC, TIM_CHANNEL_1) != HAL_OK)
	{
		Error_Handler();
	}
	sConfigOC.Pulse = 10500 - 1;
	if (HAL_TIM_PWM_ConfigChannel(&htim4, &sConfigOC, TIM_CHANNEL_2) != HAL_OK)
	{
		Error_Handler();
	}
	sConfigOC.Pulse = 5250 - 1;
	if (HAL_TIM_PWM_ConfigChannel(&htim4, &sConfigOC, TIM_CHANNEL_3) != HAL_OK)
	{
		Error_Handler();
	}
	HAL_TIM_MspPostInit(&htim4);

}

static void MX_TIM5_Init(void)
{

	TIM_ClockConfigTypeDef sClockSourceConfig = { 0 };
	TIM_MasterConfigTypeDef sMasterConfig = { 0 };
	TIM_OC_InitTypeDef sConfigOC = { 0 };

	htim5.Instance = TIM5;
	htim5.Init.Prescaler = 84 - 1;
	htim5.Init.CounterMode = TIM_COUNTERMODE_UP;
	htim5.Init.Period = 10000 - 1;
	htim5.Init.ClockDivision = TIM_CLOCKDIVISION_DIV1;
	htim5.Init.AutoReloadPreload = TIM_AUTORELOAD_PRELOAD_DISABLE;
	if (HAL_TIM_Base_Init(&htim5) != HAL_OK)
	{
		Error_Handler();
	}
	sClockSourceConfig.ClockSource = TIM_CLOCKSOURCE_INTERNAL;
	if (HAL_TIM_ConfigClockSource(&htim5, &sClockSourceConfig) != HAL_OK)
	{
		Error_Handler();
	}
	if (HAL_TIM_PWM_Init(&htim5) != HAL_OK)
	{
		Error_Handler();
	}
	sMasterConfig.MasterOutputTrigger = TIM_TRGO_RESET;
	sMasterConfig.MasterSlaveMode = TIM_MASTERSLAVEMODE_DISABLE;
	if (HAL_TIMEx_MasterConfigSynchronization(&htim5, &sMasterConfig) != HAL_OK)
	{
		Error_Handler();
	}
	sConfigOC.OCMode = TIM_OCMODE_PWM1;
	sConfigOC.Pulse = 0;
	sConfigOC.OCPolarity = TIM_OCPOLARITY_HIGH;
	sConfigOC.OCFastMode = TIM_OCFAST_DISABLE;
	if (HAL_TIM_PWM_ConfigChannel(&htim5, &sConfigOC, TIM_CHANNEL_1) != HAL_OK)
	{
		Error_Handler();
	}
	sConfigOC.Pulse = 5000;
	if (HAL_TIM_PWM_ConfigChannel(&htim5, &sConfigOC, TIM_CHANNEL_4) != HAL_OK)
	{
		Error_Handler();
	}
	HAL_TIM_MspPostInit(&htim5);

}

static void MX_TIM7_Init(void)
{

	TIM_MasterConfigTypeDef sMasterConfig = { 0 };

	htim7.Instance = TIM7;
	htim7.Init.Prescaler = 10 - 1;
	htim7.Init.CounterMode = TIM_COUNTERMODE_UP;
	htim7.Init.Period = 8400 - 1;
	htim7.Init.AutoReloadPreload = TIM_AUTORELOAD_PRELOAD_DISABLE;
	if (HAL_TIM_Base_Init(&htim7) != HAL_OK)
	{
		Error_Handler();
	}
	sMasterConfig.MasterOutputTrigger = TIM_TRGO_RESET;
	sMasterConfig.MasterSlaveMode = TIM_MASTERSLAVEMODE_DISABLE;
	if (HAL_TIMEx_MasterConfigSynchronization(&htim7, &sMasterConfig) != HAL_OK)
	{
		Error_Handler();
	}

}

static void MX_TIM10_Init(void)
{

	TIM_OC_InitTypeDef sConfigOC = { 0 };

	htim10.Instance = TIM10;
	htim10.Init.Prescaler = 336 - 1;
	htim10.Init.CounterMode = TIM_COUNTERMODE_UP;
	htim10.Init.Period = 10000 - 1;
	htim10.Init.ClockDivision = TIM_CLOCKDIVISION_DIV1;
	htim10.Init.AutoReloadPreload = TIM_AUTORELOAD_PRELOAD_DISABLE;
	if (HAL_TIM_Base_Init(&htim10) != HAL_OK)
	{
		Error_Handler();
	}
	if (HAL_TIM_PWM_Init(&htim10) != HAL_OK)
	{
		Error_Handler();
	}
	sConfigOC.OCMode = TIM_OCMODE_PWM1;
	sConfigOC.Pulse = 100;
	sConfigOC.OCPolarity = TIM_OCPOLARITY_HIGH;
	sConfigOC.OCFastMode = TIM_OCFAST_DISABLE;
	if (HAL_TIM_PWM_ConfigChannel(&htim10, &sConfigOC, TIM_CHANNEL_1) != HAL_OK)
	{
		Error_Handler();
	}
	HAL_TIM_MspPostInit(&htim10);

}

static void MX_USART3_UART_Init(void)
{

	huart3.Instance = USART3;
	huart3.Init.BaudRate = 115200;
	huart3.Init.WordLength = UART_WORDLENGTH_8B;
	huart3.Init.StopBits = UART_STOPBITS_1;
	huart3.Init.Parity = UART_PARITY_NONE;
	huart3.Init.Mode = UART_MODE_TX_RX;
	huart3.Init.HwFlowCtl = UART_HWCONTROL_NONE;
	huart3.Init.OverSampling = UART_OVERSAMPLING_16;
	if (HAL_UART_Init(&huart3) != HAL_OK)
	{
		Error_Handler();
	}

}

static void MX_DMA_Init(void)
{

	/* DMA controller clock enable */
	__HAL_RCC_DMA2_CLK_ENABLE();

	/* DMA interrupt init */
	/* DMA2_Stream0_IRQn interrupt configuration */
	HAL_NVIC_SetPriority(DMA2_Stream0_IRQn, 0, 0);
	HAL_NVIC_EnableIRQ(DMA2_Stream0_IRQn);
	/* DMA2_Stream3_IRQn interrupt configuration */
	HAL_NVIC_SetPriority(DMA2_Stream3_IRQn, 0, 0);
	HAL_NVIC_EnableIRQ(DMA2_Stream3_IRQn);
	/* DMA2_Stream6_IRQn interrupt configuration */
	HAL_NVIC_SetPriority(DMA2_Stream6_IRQn, 0, 0);
	HAL_NVIC_EnableIRQ(DMA2_Stream6_IRQn);

}

static void MX_GPIO_Init(void)
{
	GPIO_InitTypeDef GPIO_InitStruct = { 0 };

	/* GPIO Ports Clock Enable */
	__HAL_RCC_GPIOE_CLK_ENABLE();
	__HAL_RCC_GPIOC_CLK_ENABLE();
	__HAL_RCC_GPIOH_CLK_ENABLE();
	__HAL_RCC_GPIOA_CLK_ENABLE();
	__HAL_RCC_GPIOB_CLK_ENABLE();
	__HAL_RCC_GPIOD_CLK_ENABLE();

	/*Configure GPIO pin Output Level */
	HAL_GPIO_WritePin(GPIOE, GPIO_PIN_2 | GPIO_PIN_4 | GPIO_PIN_5 | GPIO_PIN_6 | GPIO_PIN_7 | GPIO_PIN_0 | GPIO_PIN_1, GPIO_PIN_RESET);

	/*Configure GPIO pin Output Level */
	HAL_GPIO_WritePin(GPIOA, GPIO_PIN_4 | GPIO_PIN_6, GPIO_PIN_RESET);

	/*Configure GPIO pin Output Level */
	HAL_GPIO_WritePin(GPIOB, GPIO_PIN_9, GPIO_PIN_RESET);

	/*Configure GPIO pins : PE2 PE4 PE5 PE6
	 PE7 PE0 PE1 */
	GPIO_InitStruct.Pin = GPIO_PIN_2 | GPIO_PIN_4 | GPIO_PIN_5 | GPIO_PIN_6 | GPIO_PIN_7 | GPIO_PIN_0 | GPIO_PIN_1;
	GPIO_InitStruct.Mode = GPIO_MODE_OUTPUT_PP;
	GPIO_InitStruct.Pull = GPIO_NOPULL;
	GPIO_InitStruct.Speed = GPIO_SPEED_FREQ_LOW;
	HAL_GPIO_Init(GPIOE, &GPIO_InitStruct);

	/*Configure GPIO pin : PE3 */
	GPIO_InitStruct.Pin = GPIO_PIN_3;
	GPIO_InitStruct.Mode = GPIO_MODE_IT_RISING;
	GPIO_InitStruct.Pull = GPIO_NOPULL;
	HAL_GPIO_Init(GPIOE, &GPIO_InitStruct);

	/*Configure GPIO pin : PC15 */
	GPIO_InitStruct.Pin = GPIO_PIN_15;
	GPIO_InitStruct.Mode = GPIO_MODE_IT_RISING;
	GPIO_InitStruct.Pull = GPIO_NOPULL;
	HAL_GPIO_Init(GPIOC, &GPIO_InitStruct);

	/*Configure GPIO pins : PA4 PA6 */
	GPIO_InitStruct.Pin = GPIO_PIN_4 | GPIO_PIN_6;
	GPIO_InitStruct.Mode = GPIO_MODE_OUTPUT_PP;
	GPIO_InitStruct.Pull = GPIO_NOPULL;
	GPIO_InitStruct.Speed = GPIO_SPEED_FREQ_LOW;
	HAL_GPIO_Init(GPIOA, &GPIO_InitStruct);

	/*Configure GPIO pins : PD10 PD4 */
	GPIO_InitStruct.Pin = GPIO_PIN_10 | GPIO_PIN_4;
	GPIO_InitStruct.Mode = GPIO_MODE_IT_RISING;
	GPIO_InitStruct.Pull = GPIO_NOPULL;
	HAL_GPIO_Init(GPIOD, &GPIO_InitStruct);

	/*Configure GPIO pin : PC7 */
	GPIO_InitStruct.Pin = GPIO_PIN_7;
	GPIO_InitStruct.Mode = GPIO_MODE_INPUT;
	GPIO_InitStruct.Pull = GPIO_NOPULL;
	HAL_GPIO_Init(GPIOC, &GPIO_InitStruct);

	/*Configure GPIO pin : PB9 */
	GPIO_InitStruct.Pin = GPIO_PIN_9;
	GPIO_InitStruct.Mode = GPIO_MODE_OUTPUT_PP;
	GPIO_InitStruct.Pull = GPIO_NOPULL;
	GPIO_InitStruct.Speed = GPIO_SPEED_FREQ_LOW;
	HAL_GPIO_Init(GPIOB, &GPIO_InitStruct);

}

void Error_Handler(void)
{
	__disable_irq();
	while (1)
	{
	}
}
